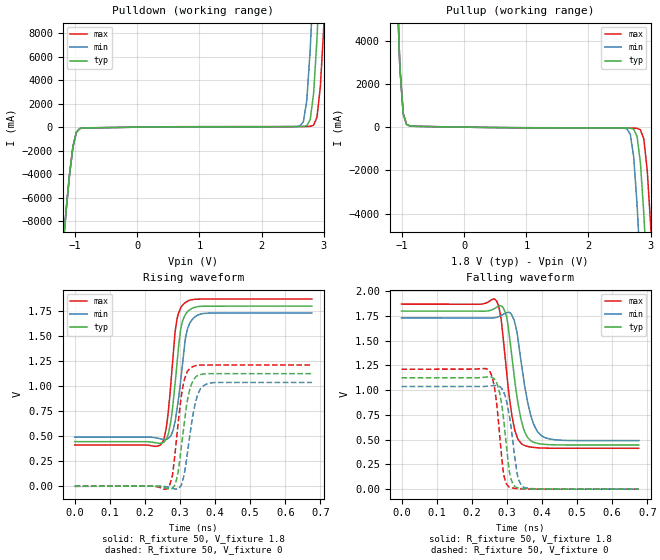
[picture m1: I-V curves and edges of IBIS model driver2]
| IBIS file invchain_weak_tr1ps.ibs created by PYS2IBIS3
| Missouri S&T EMC Lab
[IBIS Ver] 7.1
[File Name] invchain_weak_tr1ps.ibs
[File Rev] 1.0
[Date] Jul 27, 2026
[Source] inv_chain variant 'weak' -- half drive at every stage
[Notes] Parameter selection; sim_time=6.756e-10, tr=tf=1.000e-12.
[Component] invchain
[Manufacturer] s2ibispy study
[Package]
| variable   typ   min   max
R_pkg 0 NA NA
L_pkg 0H NA NA
C_pkg 0F NA NA
[Pin]  signal_name   model_name   R_pin   L_pin   C_pin
VSSQ   VSSQ   Gnd
VCCQ   VCCQ   Power
| IN IN dummy
PAD   PAD   driver2
| End of Component
| Models and submodels in the file (1): driver2 (Output)
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[Model] driver2
Model_type Output
Polarity Non-Inverting
Enable Active-High
Vinl  = 0.8V
Vinh  = 2V
C_comp 0.4680pF NA NA
[Temperature Range] 27.0000 27.0000 27.0000
[Voltage Range] 1.8000V 1.7000V 1.9000V
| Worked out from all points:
|   slope of the pulldown table from 0 to 0.27 V, typ, clamps not added: 14.1 ohm
|   slope of the pullup table from 0 to 0.27 V, typ, clamps not added: 24.6 ohm
|   rising waveform, R_fixture 50, V_fixture 1.8: 20-80 % time 23.6ps typ, 25.3ps min, 22ps max; typ from 0.446 V to 1.8 V
|   rising waveform, R_fixture 50, V_fixture 0: 20-80 % time 25.4ps typ, 27.4ps min, 23.7ps max; typ from 0 V to 1.12 V
|   falling waveform, R_fixture 50, V_fixture 1.8: 20-80 % time 31.5ps typ, 35.7ps min, 28.3ps max; typ from 1.8 V to 0.446 V
|   falling waveform, R_fixture 50, V_fixture 0: 20-80 % time 22.2ps typ, 24.4ps min, 20.5ps max; typ from 1.12 V to 0 V
[Pulldown]
| Voltage   I(typ)   I(min)   I(max)
-1.8V     -50.22A    -50.22A    -50.22A
-1.2V     -10.44A    -10.44A    -10.44A
-1.036V   -1.67A     -1.668A    -1.672A
-927.3mV  -121.6mA   -118.9mA   -124mA
2.618V    48.73mA    103.1mA    49.35mA
2.727V    131.8mA    2.281A     54.59mA
2.782V    631.5mA    6.58A      69.15mA
2.836V    2.833A     12.65A     170.1mA
2.891V    7.503A     19.29A     839.8mA
2.946V    13.76A     25.94A     3.459A
3V        20.41A     32.59A     8.47A
3.6V      93.55A     105.7A     81.36A
[Pullup]
| Voltage   I(typ)   I(min)   I(max)
-1.8V     93.5A      93.5A      93.5A
-1.091V   7.473A     7.472A     7.473A
-981.8mV  621.2mA    620.4mA    621.9mA
-872.7mV  52.26mA    51.37mA    53.06mA
2.618V    -40.01mA   -79.32mA   -40.56mA
2.727V    -99.7mA    -1.375A    -44.4mA
2.782V    -427.1mA   -3.579A    -55.14mA
2.836V    -1.672A    -6.535A    -126.4mA
2.891V    -4.036A    -9.883A    -555.7mA
2.946V    -7.076A    -13.45A    -2.002A
3V        -10.47A    -17.07A    -4.511A
3.6V      -50.25A    -56.88A    -43.62A
[Ramp]
| variable   typ   min   max
dV/dt_r 0.6750/0.0255n 0.6222/0.02719n 0.7272/0.02364n
dV/dt_f 0.8123/0.03134n 0.7501/0.03427n 0.8728/0.02948n
R_load = 50
[Rising Waveform]
R_fixture = 50
V_fixture = 1.8
|time   V(typ)   V(min)   V(max)
0s        446.2mV    490.9mV    413.3mV
244.8ps   430.2mV    473.7mV    414.2mV
263.8ps   491.4mV    472.4mV    657.4mV
280.7ps   840.5mV    564.7mV    1.324V
290.1ps   1.175V     733.8mV    1.647V
301.6ps   1.566V     1.05V      1.78V
315.8ps   1.719V     1.489V     1.836V
322.6ps   1.747V     1.585V     1.852V
368.6ps   1.799V     1.727V     1.87V
675.6ps   1.8V       1.731V     1.87V
[Rising Waveform]
R_fixture = 50
V_fixture = 0
|time   V(typ)   V(min)   V(max)
0s        17.4nV     16.96nV    17.93nV
264.4ps   -23.34mV   -5.899mV   -21.16mV
278.6ps   -18.89mV   -20.18mV   110mV
294.2ps   127.7mV    -25.3mV    614.2mV
303.7ps   388.6mV    8.817mV    894.8mV
318.5ps   805.2mV    265.6mV    1.129V
331.4ps   1.007V     592.1mV    1.186V
349.6ps   1.104V     909.8mV    1.209V
372.6ps   1.124V     1.016V     1.212V
675.6ps   1.125V     1.037V     1.212V
[Falling Waveform]
R_fixture = 50
V_fixture = 1.8
|time   V(typ)   V(min)   V(max)
0s        1.8V       1.731V     1.87V
269.8ps   1.837V     1.735V     1.906V
283.4ps   1.851V     1.754V     1.729V
299.6ps   1.739V     1.785V     1.162V
313.1ps   1.371V     1.766V     767.1mV
321.2ps   1.127V     1.704V     612.9mV
341.5ps   688.8mV    1.26V      457.6mV
367.2ps   491.7mV    754.1mV    425.7mV
398.3ps   456mV      539.8mV    415.9mV
675.6ps   446.2mV    490.9mV    413.3mV
[Falling Waveform]
R_fixture = 50
V_fixture = 0
|time   V(typ)   V(min)   V(max)
0s        1.125V     1.037V     1.212V
248.2ps   1.135V     1.041V     1.204V
265.1ps   1.11V      1.047V     1.022V
280ps     966mV      1.035V     524.5mV
290.8ps   704.8mV    981.7mV    156mV
305.7ps   215mV      772.3mV    22.8mV
317.2ps   49.75mV    476.7mV    10.31mV
330ps     13.88mV    143.9mV    5.818mV
347.6ps   6.016mV    19.69mV    2.466mV
675.6ps   100.1nV    86.57nV    82.84nV
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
